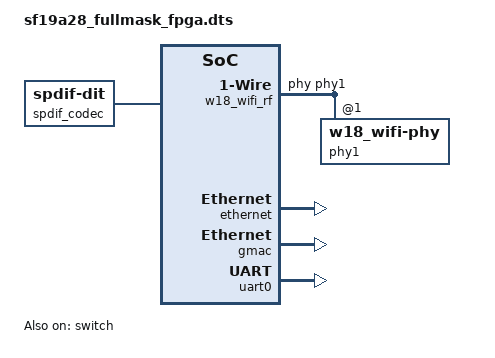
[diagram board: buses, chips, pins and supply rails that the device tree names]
/dts-v1/;

#include "sf19a28_fullmask_fpga.dtsi"


/ {
	#address-cells = <1>;
	#size-cells = <1>;
	compatible = "siflower,sf16a18-soc";

	spdif_codec: spdif-codec@0 {
		compatible = "linux,spdif-dit";
	};

	w18_wifi_rf: w18_wifi-rf@7A00000{
		compatible = "siflower,pistachio-uccp";
		phy = <&phy1>;
		#address-cells = <1>;
		#size-cells = <0>;
		phy1: w18_wifi-phy@1 {
			reg = <1>;
			max-speed = <100>;
		};
	};

};

&ethernet {
	shutdown-portlist = "*****";
        led-on-off-time = /bits/ 16 <0xff 0x2ff>;
	status = "okay";
	smp-affinity = <2>;
};

&switch{
	sfax8,port-map = "*lll*";
	status = "okay";
	smp-affinity = <2>;
};


&gmac {
	status = "okay";
    smp-affinity = <0>;
};

&usb_phy{
	status = "disabled";
};


&gdma {
	status = "disabled";
};

&usb {
	status = "disabled";
};

&spi0 {
	status = "disabled";
	use-dma;
	dmas = <&gdma 10
	&gdma 11>;
	dma-names = "tx", "rx";

	#address-cells = <1>;
	#size-cells = <0>;

	w25q128@0 {
		compatible = "w25q128";
		reg = <0>;	/* chip select */
		spi-max-frequency = <33000000>;

		bank-width = <2>;
		device-width = <2>;
		#address-cells = <1>;
		#size-cells = <1>;

		partition@0 {
			label = "spl-loader";
			reg = <0x0 0x20000>; /* 128k */
			read-only;
		};

		partition@20000 {
			label = "u-boot";
			reg = <0x20000 0x60000>; /* 384k */
		};

		partition@80000 {
			label = "u-boot-env";
			reg = <0x80000 0x10000>; /* 64k */
		};

		factory:partition@90000 {
			label = "factory";
			reg = <0x90000 0x10000>; /* 64k */
		};

		partition@a0000 {
			label = "firmware";
			reg = <0xa0000 0xf60000>; /* 640k-16M */
		};
	};

	spidev: spi@8200000 {
		compatible = "rohm,dh2228fv";
		reg = <1>;
		clock = <50000000>;
		spi-cpha;
		spi-cpol;
		spi-max-frequency=<12000000>;
	};
};


&uart0 {
	status = "okay";
};

&uart1 {
	status = "disabled";
};

&timer0 {
	status = "disabled";
};
&timer1 {
	status = "disabled";
};
